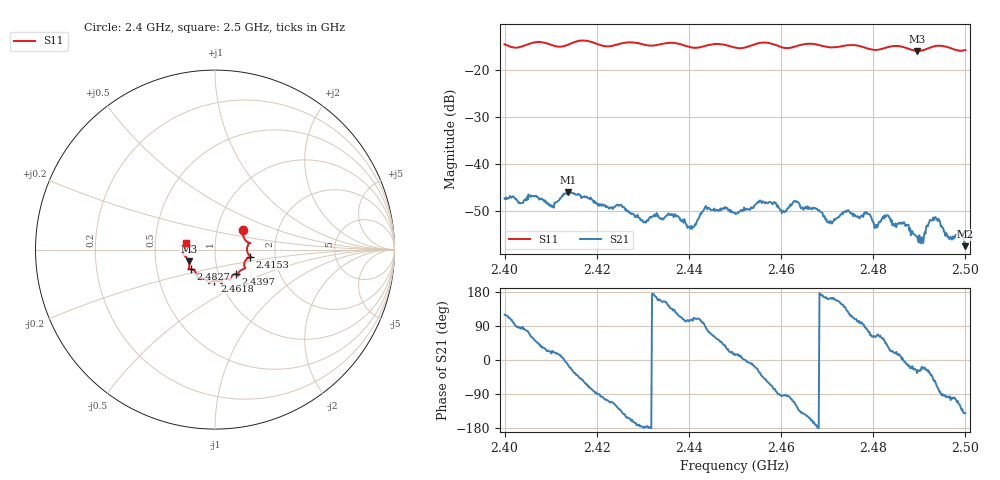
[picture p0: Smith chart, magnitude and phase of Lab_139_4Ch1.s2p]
# Hz S RI R 50
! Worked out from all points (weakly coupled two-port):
!   601 points, 2.4 GHz to 2.5 GHz, reference 50 ohm
!   highest |S21| = -46.03 dB at 2.4138 GHz (marker M1); lowest = -57.6 dB at 2.5 GHz (marker M2)
!   lowest |S11| = -15.9 dB at 2.4895 GHz (marker M3), VSWR 1.38, Z = 37 - j5.03 ohm
!   |S11| at or under -10 dB: start of sweep to end of sweep
!   S12 and S22 are empty: the file has one direction only
!   S11 on the Smith chart (normalised r, x): 2.4 GHz: 1.33, +0.30; 2.4153 GHz: 1.48, -0.12; 2.4397 GHz: 1.21, -0.34; 2.4618 GHz: 0.94, -0.33; 2.4827 GHz: 0.75, -0.17; 2.5 GHz: 0.72, +0.06
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2.4e9  0.1551 0.1071  -0.0021 0.00372  0 0  0 0
2.410167e9  0.184 0.0249  0.00343 0.00107  0 0  0 0
2.413833e9  0.1859 -0.0253  0.00485 -0.0012  0 0  0 0
2.415333e9  0.1967 -0.0389  0.00391 -0.00271  0 0  0 0
2.416667e9  0.2027 -0.0429  0.00275 -0.00331  0 0  0 0
2.430167e9  0.1514 -0.1113  -0.00236 -8.62e-05  0 0  0 0
2.433333e9  0.1298 -0.1344  -0.00259 0.00109  0 0  0 0
2.439667e9  0.1166 -0.136  -0.000546 0.002  0 0  0 0
2.443833e9  0.0855 -0.1621  0.000477 0.00335  0 0  0 0
2.45e9  0.0644 -0.162  0.00291 0.000667  0 0  0 0
2.4555e9  0.0372 -0.1919  0.00335 -0.00231  0 0  0 0
2.461833e9  -0.00292 -0.1726  -0.000452 -0.00349  0 0  0 0
2.466667e9  -0.0346 -0.1881  -0.00303 -0.0012  0 0  0 0
2.4705e9  -0.0529 -0.1675  -0.00221 0.000701  0 0  0 0
2.474167e9  -0.0897 -0.1607  -0.00206 0.00227  0 0  0 0
2.478667e9  -0.1018 -0.1372  0.000439 0.00295  0 0  0 0
2.480667e9  -0.1155 -0.1169  0.00101 0.00199  0 0  0 0
2.482667e9  -0.135 -0.1086  0.00195 0.00186  0 0  0 0
2.483333e9  -0.1402 -0.1083  0.00233 0.00151  0 0  0 0
2.4895e9  -0.1462 -0.0662  0.00138 -0.000949  0 0  0 0
2.4935e9  -0.1792 -0.0242  0.00137 -0.00233  0 0  0 0
2.5e9  -0.1592 0.0391  -0.00102 -0.000843  0 0  0 0
